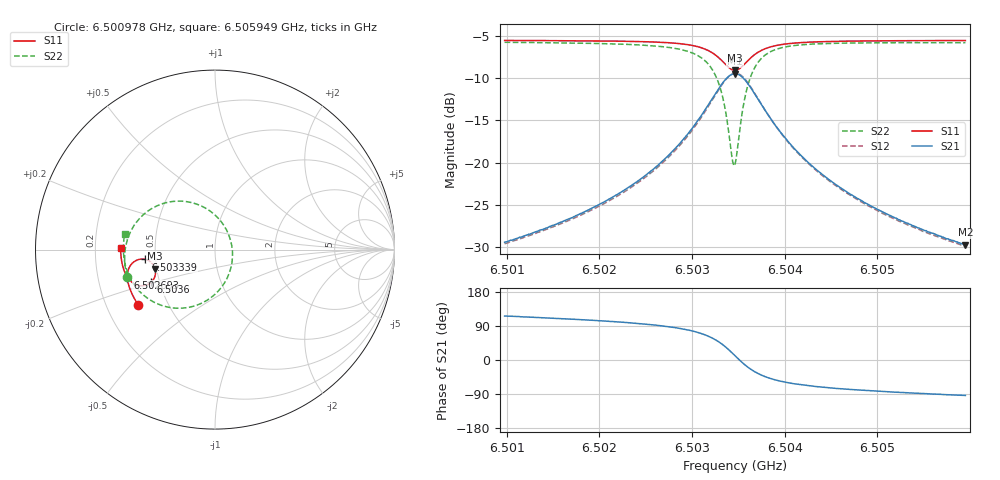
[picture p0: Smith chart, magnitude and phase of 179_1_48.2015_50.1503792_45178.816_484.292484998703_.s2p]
#  HZ  S  RI  R  50.00
! Rohde & Schwarz Vector Network Analyzer
! Rohde-Schwarz,ZNB20-2Port,1311601062101988,3.16
! Created: UTC 3/20/2024, 11:44:02 AM
! freq[Hz]  re:S11  im:S11  re:S21  im:S21  re:S12  im:S12  re:S22  im:S22
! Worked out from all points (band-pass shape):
!   401 points, 6.500978 GHz to 6.505949 GHz, reference 50 ohm
!   highest |S21| = -9.49 dB at 6.503463 GHz (marker M1); lowest = -29.7 dB at 6.505949 GHz (marker M2)
!   |S21| within 3 dB of the highest: 6.503214 GHz to 6.503712 GHz (497.6 kHz wide, 0.00765 % of centre)
!   lowest |S11| = -9.1 dB at 6.503463 GHz (marker M3), VSWR 2.08, Z = 24.5 - j5.88 ohm
!   |S11| at or under -10 dB: nowhere
!   |S22| runs from -20.3 to -5.8 dB; largest |S21 - S12| = 0.012
!   S11 on the Smith chart (normalised r, x): 6.500978 GHz: 0.34, -0.29; 6.502693 GHz: 0.33, -0.14; 6.503339 GHz: 0.44, -0.06; 6.5036 GHz: 0.45, -0.19; 6.505949 GHz: 0.31, +0.01
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6.5009778e9  -0.4274 -0.3074  -0.0149 0.0305  -0.0131 0.0306  -0.4908 -0.1512
6.5018104e9  -0.463 -0.2456  -0.0141 0.0484  -0.0118 0.0479  -0.5034 -0.0622
6.5022702e9  -0.4791 -0.2046  -0.0111 0.0681  -0.00806 0.0669  -0.5 0.00374
6.502643e9  -0.4878 -0.163  -0.00188 0.0979  0.00174 0.0956  -0.4799 0.0793
6.5026927e9  -0.4882 -0.1563  0.000492 0.1037  0.00441 0.101  -0.4743 0.092
6.5029537e9  -0.4838 -0.115  0.0272 0.1451  0.0309 0.1406  -0.4189 0.1753
6.5031401e9  -0.4618 -0.0767  0.0824 0.1878  0.0848 0.1814  -0.3132 0.248
6.5032519e9  -0.4286 -0.0562  0.153 0.2052  0.1536 0.1988  -0.1862 0.2699
6.5033389e9  -0.3875 -0.0549  0.2338 0.1883  0.234 0.1832  -0.0466 0.2275
6.5034259e9  -0.345 -0.0836  0.3112 0.1144  0.3135 0.1097  0.0766 0.0818
6.5034508e9  -0.3372 -0.0976  0.3244 0.0828  0.3276 0.0774  0.0934 0.0224
6.5034632e9  -0.3344 -0.1054  0.3286 0.0661  0.332 0.0601  0.0971 -0.00868
6.503488e9  -0.3314 -0.1214  0.3321 0.0317  0.3356 0.0247  0.0947 -0.0714
6.5035253e9  -0.3337 -0.1451  0.3249 -0.0179  0.3279 -0.027  0.0675 -0.1592
6.5035999e9  -0.3556 -0.1814  0.2787 -0.0935  0.2783 -0.1049  -0.0416 -0.2806
6.5037117e9  -0.4008 -0.2012  0.1928 -0.1384  0.1873 -0.148  -0.2156 -0.3265
6.5038733e9  -0.4474 -0.1917  0.1097 -0.1347  0.1025 -0.1397  -0.3651 -0.2784
6.5040473e9  -0.4751 -0.1702  0.0647 -0.1141  0.0583 -0.1163  -0.438 -0.2122
6.5042958e9  -0.4959 -0.1403  0.0343 -0.0893  0.0294 -0.0897  -0.4818 -0.1392
6.5046438e9  -0.5108 -0.1036  0.0159 -0.0668  0.0124 -0.0664  -0.5034 -0.0681
6.5051284e9  -0.521 -0.0585  0.00506 -0.0488  0.00294 -0.048  -0.5105 0.00187
6.5059486e9  -0.526 0.0112  -0.00201 -0.0327  -0.00345 -0.032  -0.5029 0.0894
